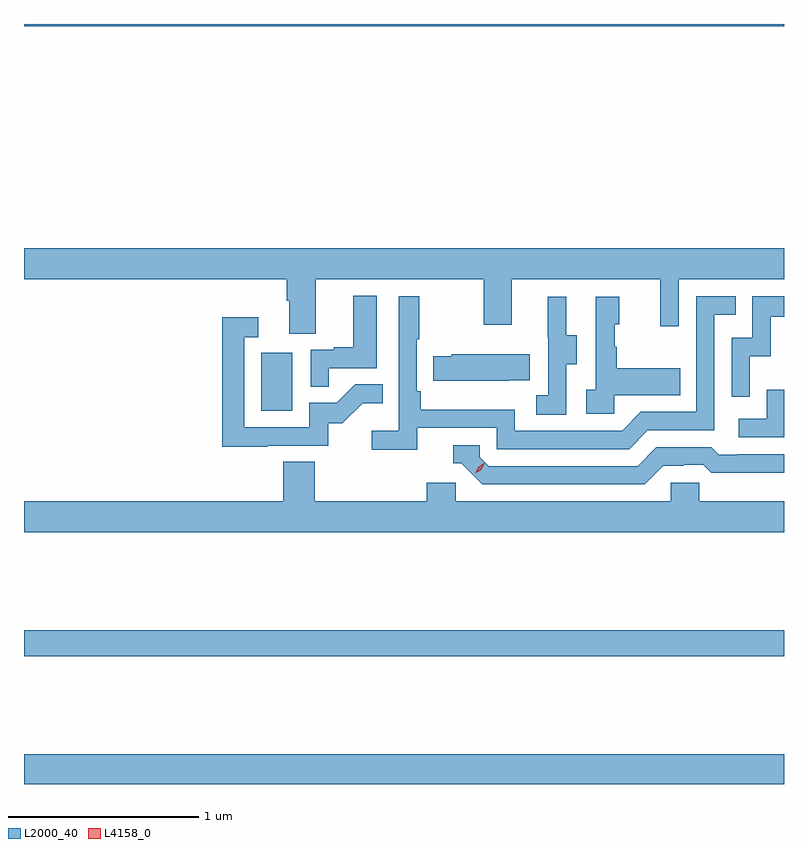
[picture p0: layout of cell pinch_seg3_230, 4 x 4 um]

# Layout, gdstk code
import gdstk
lib = gdstk.Library(unit=1e-6, precision=1e-09)
def R(c, l, rs):  # rectangles x0, y0, x1, y1
    for r in rs: c.add(gdstk.rectangle(r[:2], r[2:], *l))
def P(c, l, *ps):  # polygons
    for p in ps: c.add(gdstk.Polygon(p, *l))
L2000_40 = (2000, 40)
L4158_0 = (4158, 0)

pinch_seg3_230 = lib.new_cell('pinch_seg3_230')
R(pinch_seg3_230, L2000_40, [(920.87,744.88,924.87,745.036), (920.87,745.552,924.87,745.688), (922.118,746.844,922.282,747.151), (920.87,748.868,924.87,748.88)])
P(pinch_seg3_230, L2000_40, [(922.405,747.536),(923.29,747.536),(923.29,747.297),(923.437,747.297),(923.437,747.536),(924.218,747.536),(924.218,747.288),(924.315,747.288),(924.315,747.536),(924.87,747.536),(924.87,747.7),(920.87,747.7),(920.87,747.536),(922.253,747.536),(922.253,747.424),(922.265,747.424),(922.265,747.25),(922.405,747.25)],
  [(922.475,747.069),(922.726,747.069),(922.726,747.451),(922.604,747.451),(922.604,747.178),(922.501,747.178),(922.501,747.165),(922.38,747.165),(922.38,746.971),(922.475,746.971)],
  [(922.94,746.754),(923.358,746.754),(923.358,746.643),(924.055,746.643),(924.154,746.742),(924.504,746.742),(924.504,747.351),(924.617,747.351),(924.617,747.447),(924.408,747.447),(924.408,746.838),(924.117,746.838),(924.018,746.739),(923.454,746.739),(923.454,746.851),(922.958,746.851),(922.958,746.947),(922.938,746.947),(922.938,747.22),(922.951,747.22),(922.951,747.448),(922.842,747.448),(922.842,746.74),(922.701,746.74),(922.701,746.638),(922.94,746.638)],
  [(924.69,747.131),(924.8,747.131),(924.8,747.339),(924.87,747.339),(924.87,747.447),(924.702,747.447),(924.702,747.228),(924.594,747.228),(924.594,746.919),(924.69,746.919)],
  [(923.724,747.088),(923.779,747.088),(923.779,747.243),(923.725,747.243),(923.725,747.445),(923.627,747.445),(923.627,747.231),(923.628,747.231),(923.628,746.927),(923.565,746.927),(923.565,746.824),(923.724,746.824)],
  [(923.976,746.927),(924.323,746.927),(924.323,747.067),(923.989,747.067),(923.989,747.182),(923.979,747.182),(923.979,747.3),(924.004,747.3),(924.004,747.445),(923.88,747.445),(923.88,746.954),(923.829,746.954),(923.829,746.829),(923.976,746.829)],
  [(922.151,746.661),(922.47,746.661),(922.47,746.778),(922.546,746.778),(922.653,746.885),(922.757,746.885),(922.757,746.984),(922.614,746.984),(922.516,746.886),(922.371,746.886),(922.371,746.757),(922.029,746.757),(922.029,747.231),(922.102,747.231),(922.102,747.337),(921.913,747.337),(921.913,746.656),(922.151,746.656)],
  [(923.423,747.005),(923.531,747.005),(923.531,747.142),(923.121,747.142),(923.121,747.132),(923.023,747.132),(923.023,747.002),(923.423,747.002)],
  [(924.87,746.956),(924.78,746.956),(924.78,746.802),(924.633,746.802),(924.633,746.706),(924.87,746.706)],
  [(924.235,746.556),(924.342,746.556),(924.342,746.559),(924.445,746.559),(924.487,746.517),(924.72,746.517),(924.72,746.519),(924.87,746.519),(924.87,746.616),(924.625,746.616),(924.625,746.613),(924.526,746.613),(924.487,746.652),(924.198,746.652),(924.099,746.553),(923.316,746.553),(923.268,746.601),(923.268,746.664),(923.129,746.664),(923.129,746.568),(923.172,746.568),(923.283,746.457),(924.136,746.457)],
  [(924.87,746.368),(924.423,746.368),(924.423,746.466),(924.273,746.466),(924.273,746.368),(923.142,746.368),(923.142,746.466),(922.991,746.466),(922.991,746.368),(922.4,746.368),(922.4,746.576),(922.235,746.576),(922.235,746.368),(920.87,746.368),(920.87,746.204),(924.87,746.204)])
P(pinch_seg3_230, L4158_0, [(923.244,746.515),(923.244,746.516),(923.261,746.548),(923.291,746.568),(923.292,746.568),(923.292,746.567),(923.276,746.535),(923.245,746.515)])

lib.write_gds('pinch_seg3_230.gds')
